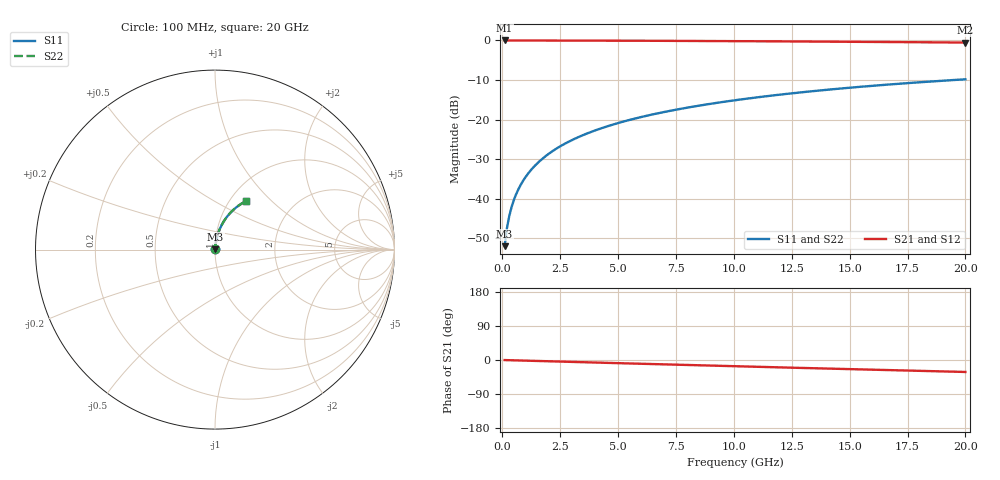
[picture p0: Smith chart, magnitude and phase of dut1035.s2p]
! Touchstone file exported from HFSS 2026.1.0
!  File:  C:/ffzhzh/LocalFiles/Ansys_Project_Files/temp_train_TMRDL_1035_1783160117_51560.aedt
!  Generated:  06:16:30 PM Jul  4, 2026
!  Design:  TMRDL
!  Project:  temp_train_TMRDL_1035_1783160117_51560
! Variables:
!  h_bsmrdl = 2um
!  h_ox = 20um
!  h_rdl = 5um
!  h_sub = 80um
!  h_tmrdl = 4.69um
!  h_tsv = 80um
!  h_via = 3um
!  l_bsmrdl = 300um
!  l_sub = 818.2um
!  l_tmrdl = 418.2um
!  m_sub = 200um
!  pitch = 56.65um
!  r_tsv = 6um
!  s_tmrdl = 10um
!  w_bsmrdl = 18um
!  w_sub = 500um
!  w_tmrdl = 22.46um
!  x_tsv_center1 = 429.43um
!  x_tsv_center2 = 747.43um
!  x_tsv_center3 = 1188.09um
!  x_tsv_center4 = 1506.09um
!  x_tsv_center5 = 1946.75um
!  x_tsv_center6 = 2264.75um
# GHz S MA R 50.000000
! Terminal data exported
! Port[1] = TM_RDL1_1_T1
! Port[2] = TM_RDL1_1_T2
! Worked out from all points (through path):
!   200 points, 100 MHz to 20 GHz, reference 50 ohm
!   highest |S21| = -0.01 dB at 100 MHz (marker M1); lowest = -0.5 dB at 20 GHz (marker M2)
!   group delay of S21, straight-line fit = 4.39 ps
!   lowest |S11| = -52.0 dB at 100 MHz (marker M3), VSWR 1.01, Z = 50.2 + j0.197 ohm
!   |S11| at or under -10 dB: start of sweep to 19.51 GHz
!   |S22| runs from -52.0 to -9.8 dB; largest |S21 - S12| = 5.3e-15
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0.1  0.002522 51.3  0.9984 -0.2  0.9984 -0.2  0.002522 51.3
! Gamma 0 0 0 0
! Port Impedance 50 0 50 0
0.2  0.004239 66.7  0.9983 -0.3  0.9983 -0.3  0.004238 66.7
0.3  0.006043 72.7  0.9982 -0.5  0.9982 -0.5  0.006042 72.7
0.4  0.007852 75.9  0.9982 -0.7  0.9982 -0.7  0.007851 75.9
0.5  0.009659 77.9  0.9981 -0.9  0.9981 -0.9  0.009657 77.9
0.7  0.01328 80.2  0.998 -1.2  0.998 -1.2  0.01327 80.2
0.8  0.01509 80.9  0.9979 -1.4  0.9979 -1.4  0.01509 81.0
1  0.01872 81.9  0.9978 -1.7  0.9978 -1.7  0.01872 81.9
1.2  0.02236 82.5  0.9977 -2.0  0.9977 -2.0  0.02236 82.5
1.4  0.02601 82.8  0.9975 -2.4  0.9975 -2.4  0.026 82.8
1.7  0.03147 82.9  0.9973 -2.9  0.9973 -2.9  0.03147 82.9
2  0.03692 82.9  0.997 -3.4  0.997 -3.4  0.03692 82.9
2.7  0.04959 82.3  0.9961 -4.5  0.9961 -4.5  0.04959 82.4
3.5  0.06395 81.4  0.9949 -5.9  0.9949 -5.9  0.06395 81.4
4.2  0.07638 80.4  0.9937 -7.0  0.9937 -7.0  0.07638 80.4
5  0.09043 79.3  0.9921 -8.3  0.9921 -8.3  0.09043 79.3
6.8  0.1215 76.6  0.9881 -11.2  0.9881 -11.2  0.1215 76.6
8.3  0.1468 74.4  0.9841 -13.7  0.9841 -13.7  0.1468 74.4
10.1  0.1764 71.6  0.9787 -16.5  0.9787 -16.5  0.1764 71.7
13.4  0.2285 66.7  0.9672 -21.7  0.9672 -21.7  0.2285 66.7
16.7  0.2774 61.9  0.9538 -26.7  0.9538 -26.7  0.2774 61.9
20  0.3227 57.1  0.9391 -31.6  0.9391 -31.6  0.3227 57.1
